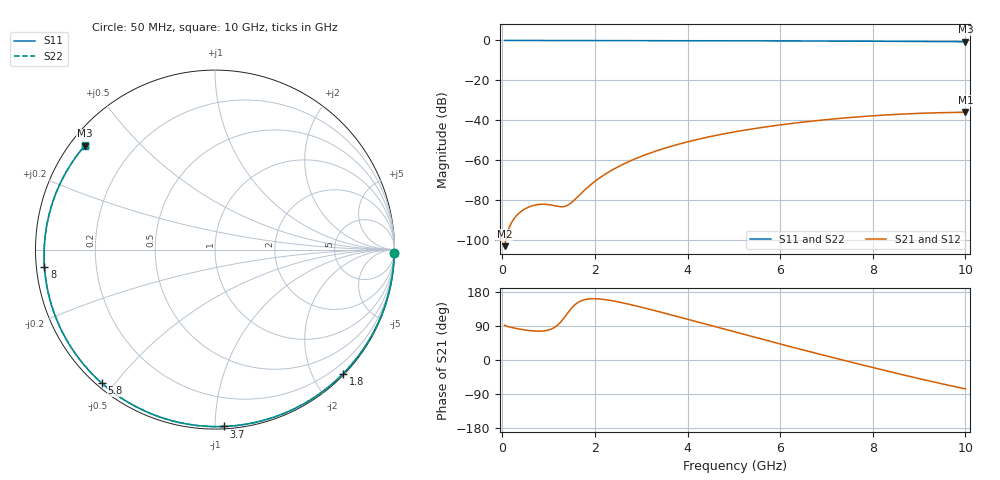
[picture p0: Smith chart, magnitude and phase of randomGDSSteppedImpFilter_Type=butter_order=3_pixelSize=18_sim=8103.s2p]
! freq	dB(S11)	phase(S11)	dB(S12)	phase(S12)
!  dB(S21)	phase(S21)	dB(S22)	phase(S22)
!S-par simulation data
#  GHz  S  DB  R 50
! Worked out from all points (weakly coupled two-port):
!   200 points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, 50 MHz to 10 GHz, reference 50 ohm
!   highest |S21| = -36.04 dB at 10 GHz (marker M1); lowest = -103.3 dB at 50 MHz (marker M2)
!   lowest |S11| = -0.6 dB at 10 GHz (marker M3), VSWR 26.86, Z = 2.09 + j17.5 ohm
!   |S11| at or under -10 dB: nowhere
!   |S22| runs from -0.6 to 0.0 dB; largest |S21 - S12| = 0
!   S11 on the Smith chart (normalised r, x): 50 MHz: 2, -95; 1.8 GHz: 0.02, -2.47; 3.7 GHz: 0.01, -1.05; 5.8 GHz: 0.02, -0.46; 8 GHz: 0.02, -0.05; 10 GHz: 0.04, +0.35
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0.05  -0.00 -1.2  -103.26 91.7  -103.26 91.7  -0.00 -1.2
0.45  -0.02 -11.2  -85.12 80.0  -85.12 80.0  -0.02 -11.2
0.8  -0.03 -19.9  -82.30 76.1  -82.30 76.1  -0.03 -19.9
1.55  -0.05 -38.2  -80.25 144.0  -80.25 144.0  -0.05 -38.2
1.75  -0.05 -42.9  -75.70 158.1  -75.70 158.1  -0.05 -43.0
1.8  -0.06 -44.1  -74.62 159.7  -74.62 159.7  -0.06 -44.1
2.1  -0.06 -51.2  -69.03 161.0  -69.03 161.0  -0.06 -51.2
2.45  -0.08 -59.3  -64.04 154.6  -64.04 154.6  -0.08 -59.3
2.9  -0.09 -69.5  -59.12 142.4  -59.12 142.4  -0.09 -69.6
3.4  -0.10 -80.6  -54.88 127.0  -54.88 127.0  -0.10 -80.6
3.7  -0.12 -87.1  -52.77 117.3  -52.77 117.3  -0.12 -87.1
4.35  -0.14 -100.8  -48.97 96.0  -48.97 96.0  -0.14 -100.9
5.05  -0.17 -115.2  -45.76 72.9  -45.76 72.9  -0.17 -115.2
5.8  -0.22 -130.2  -43.03 48.6  -43.03 48.6  -0.22 -130.3
6.7  -0.28 -148.0  -40.46 20.1  -40.46 20.1  -0.28 -148.1
7.35  -0.33 -161.0  -39.00 -0.1  -39.00 -0.1  -0.34 -161.0
8  -0.40 -174.2  -37.82 -19.8  -37.82 -19.8  -0.40 -174.2
8.35  -0.44 178.6  -37.31 -30.3  -37.31 -30.3  -0.44 178.5
8.8  -0.49 168.9  -36.78 -43.4  -36.78 -43.4  -0.49 168.8
9.2  -0.54 160.1  -36.43 -54.8  -36.43 -54.8  -0.54 160.0
9.6  -0.59 150.9  -36.18 -65.7  -36.18 -65.7  -0.59 150.8
10  -0.65 141.4  -36.04 -76.2  -36.04 -76.2  -0.65 141.3
